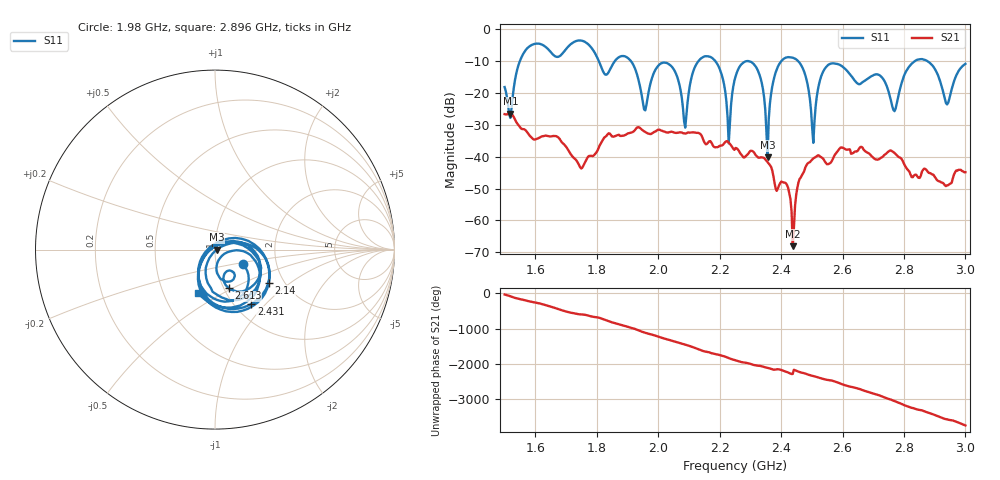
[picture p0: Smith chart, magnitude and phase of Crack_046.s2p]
# HZ S RI R 50
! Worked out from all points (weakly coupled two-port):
!   404 points, 1.5 GHz to 3 GHz, reference 50 ohm
!   highest |S21| = -26.46 dB at 1.519 GHz (marker M1); lowest = -68.1 dB at 2.438 GHz (marker M2)
!   lowest |S11| = -40.2 dB at 2.356 GHz (marker M3), VSWR 1.02, Z = 51 + j0.0393 ohm
!   |S11| at or under -10 dB: 1.911 GHz to 2.131 GHz (219.5 MHz wide, 10.9 % of centre); 2.456 GHz to 2.835 GHz (379.8 MHz wide, 14.4 % of centre); 2.876 GHz to end of sweep (the widest 3 of 7)
!   S12 and S22 are empty: the file has one direction only
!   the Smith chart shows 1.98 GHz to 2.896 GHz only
!   S11 on the Smith chart (normalised r, x): 1.98 GHz: 1.34, -0.22; 2.14 GHz: 1.67, -0.70; 2.431 GHz: 1.19, -0.83; 2.613 GHz: 1.05, -0.48; 2.896 GHz: 0.74, -0.39
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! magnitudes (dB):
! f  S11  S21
! 1.5 GHz  -18.1  -26.6
! 1.519 GHz  -27.8  -26.5
! 1.574 GHz  -5.9  -32.4
! 1.753 GHz  -3.6  -43.4
! 1.954 GHz  -25.1  -32.0
! 1.98 GHz  -15.2  -32.6
! 2.002 GHz  -11.2  -31.5
! 2.088 GHz  -30.9  -32.7
! 2.14 GHz  -9.1  -33.2
! 2.23 GHz  -35.8  -35.5
! 2.252 GHz  -14.8  -37.2
! 2.315 GHz  -11.4  -39.2
! 2.356 GHz  -40.2  -41.7
! 2.431 GHz  -8.8  -53.3
! 2.438 GHz  -8.9  -68.1
! 2.501 GHz  -31.0  -40.9
! 2.542 GHz  -12.4  -41.4
! 2.613 GHz  -12.8  -37.8
! 2.751 GHz  -19.8  -38.3
! 2.896 GHz  -11.7  -45.6
! 2.94 GHz  -23.6  -49.0
! 3 GHz  -10.8  -44.8
